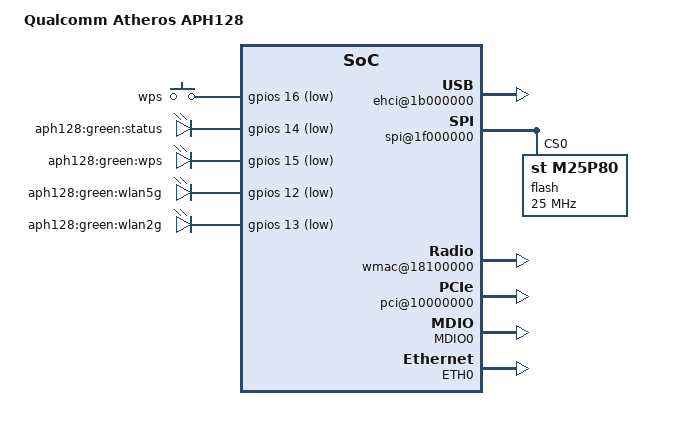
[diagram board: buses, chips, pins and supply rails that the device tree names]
/*
 * Copyright (c) 2013 Qualcomm Atheros, Inc.
 *
 * This program is free software; you can redistribute it and/or modify it
 * under the terms of the GNU General Public License version 2 as published
 * by the Free Software Foundation.
 */

/dts-v1/;

/ {
	model = "Qualcomm Atheros APH128";
	compatible = "ath79,aph128";
	#address-cells = <1>;
	#size-cells = <1>;
	interrupt-parent = <&vic>;

	gpios: ath79-gpio {
		#gpio-cells = <2>;
		gpio-controller;
	};

	ahb {
		compatible = "simple-bus";
		#address-cells = <1>;
		#size-cells = <1>;
		ranges;

		vic: intc {
			compatible = "interrupt-controller";
			interrupt-controller;
			#interrupt-cells = <1>;
		};

		ehci@1b000000 {
			compatible = "qcom,ag71xx-ehci";
			reg = <0x1b000000 0x20000>;
			interrupts = <3>;
			interrupt-parent = <&vic>;
		};

		spi@1f000000 {
			compatible = "qcom,ag71xx-spi";	 /* master */
			#address-cells = <1>;
			#size-cells = <0>;
			reg = <0x1f000000 0x01000000>;

			flash: m25p80@0 {
				compatible = "st,m25p80";	/* modalias */
				spi-max-frequency = <25000000>; /* max_speed_hz */
				reg = <0>;			/* chip_select */
				spi-controller-data = <1 0 0>;  /* is_flash cs_type cs_line */
			};
		};

		wmac@18100000 {
			compatible = "qcom,ag71xx-wmac";
			reg = <0x18100000 0x20000>;
			interrupts = <47>;
			interrupt-parent = <&vic>;
		};

		pci@10000000 {
			compatible = "qcom,ag71xx-pci";
			reg = 	<0x10000000 0x04000000>,
				<0x00000000 0x00000000>,
				<0x14000000 0x00001000>,
				<0x180f0000 0x00000100>,
				<0x180c0000 0x00001000>;
			reg-names = 	"mem_base",
					"io_base",
					"cfg_base",
					"ctrl_base",
					"crp_base";
			interrupts = <46>;
			interrupt-parent = <&vic>;
		};

		MDIO0: mdio@19000000 {
			compatible = "qcom,ag71xx-mdio";
			reg = <0x19000000 0x200>;
			reg-names = "mdio_base";
		};

		ETH0: ethernet@19000000 {
			compatible = "qcom,ag71xx-eth";
			reg = <0x19000000 0x200>;
			reg-names = "mac_base";
			interrupts = <4>;
			interrupt-names = "mac_irq";
			interrupt-parent = <&vic>;
			mdio-handle = <&MDIO0>;
		};
	};

	gpio-keys {
		compatible = "gpio-keys";
		#address-cells = <1>;
		#size-cells = <0>;

		wps {
			label = "wps";
			gpios = <&gpios 16 1>;
			linux,code = <529>;
			debounce-interval = <60>;
		};
	};

	gpio-leds {
		compatible = "gpio-leds";

		status {
			label = "aph128:green:status";
			gpios = <&gpios 14 1>;
			linux,default-trigger = "timer";
		};

		wps {
			label = "aph128:green:wps";
			gpios = <&gpios 15 1>;
			linux,default-trigger = "timer";
		};

		wlan5g {
			label = "aph128:green:wlan5g";
			gpios = <&gpios 12 1>;
			linux,default-trigger = "timer";
		};

		wlan2g {
			label = "aph128:green:wlan2g";
			gpios = <&gpios 13 1>;
			linux,default-trigger = "timer";
		};
	};
};
